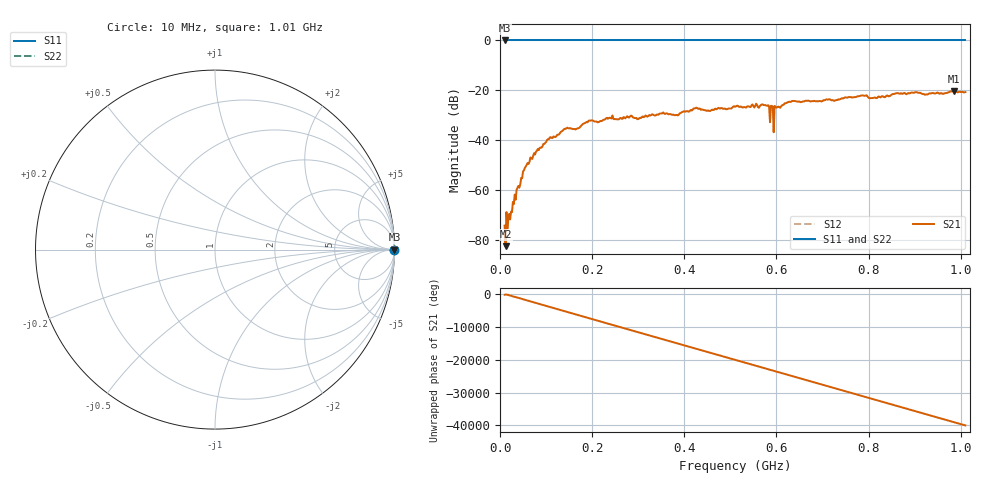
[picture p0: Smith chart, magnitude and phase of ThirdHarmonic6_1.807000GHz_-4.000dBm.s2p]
! 8/16/2025 9:52:45 PM
! C:\ANRITSUVNA\TEMP\TEMP.S2P
! CHANNEL.1
! TR.MEASUREMENT
! RAW.DATA
! RF.CORRECTION.OFF
! AVERAGING.OFF
! IF.BANDWIDTH: 5KHZ
! SWEEPTYPE:  FREQ.SWEEP(Linear)
! Reference Plane Port Info
! PORT:  PORT1  PORT2
! DISTANCE:  0  m  0  m
! TIME:  0  s  0  s
! PHASE.OFFSET:  0  deg.  0  deg.
! LOSS:  0  dB  0  dB
! REF.LOSS:  0  dB  0  dB
! REF.FREQ:  0  Hz  0  Hz
! Power Info
! POWER:  -20  dBm  -20  dBm
! EFF.POWER:  -20  dBm  -20  dBm
! SOURCE.ATTEN:  0  dB  0  dB
! TEST.ATTEN:  0  dB  0  dB
# GHZ S RI R 50.0
! FREQ.GHZ  S11RE  S11IM  S21RE  S21IM  S12RE  S12IM  S22RE  S22IM
!; PortSelection: Port_12
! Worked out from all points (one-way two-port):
!   501 points, 10 MHz to 1.01 GHz, reference 50 ohm
!   highest |S21| = -20.41 dB at 986 MHz (marker M1); lowest = -82.6 dB at 12 MHz (marker M2)
!   lowest |S11| = 0.0 dB at 10 MHz (marker M3)
!   |S11| at or under -10 dB: nowhere
!   |S22| runs from 0.0 to 0.0 dB; largest |S21 - S12| = 1.1
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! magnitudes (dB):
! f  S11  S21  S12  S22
! 10 MHz  0.0  -74.3  0.0  0.0
! 12 MHz  0.0  -82.6  0.0  0.0
! 20 MHz  0.0  -69.6  0.0  0.0
! 36 MHz  0.0  -60.0  0.0  0.0
! 54 MHz  0.0  -51.1  0.0  0.0
! 70 MHz  0.0  -47.6  0.0  0.0
! 106 MHz  0.0  -39.6  0.0  0.0
! 142 MHz  0.0  -35.5  0.0  0.0
! 178 MHz  0.0  -33.9  0.0  0.0
! 240 MHz  0.0  -31.1  0.0  0.0
! 344 MHz  0.0  -29.8  0.0  0.0
! 510 MHz  0.0  -26.6  0.0  0.0
! 578 MHz  0.0  -26.1  0.0  0.0
! 588 MHz  0.0  -26.3  0.0  0.0
! 590 MHz  0.0  -26.3  0.0  0.0
! 598 MHz  0.0  -26.6  0.0  0.0
! 600 MHz  0.0  -27.0  0.0  0.0
! 624 MHz  0.0  -24.8  0.0  0.0
! 678 MHz  0.0  -24.4  0.0  0.0
! 844 MHz  0.0  -22.4  0.0  0.0
! 986 MHz  0.0  -20.4  0.0  0.0
! 1.01 GHz  0.0  -20.7  0.0  0.0
